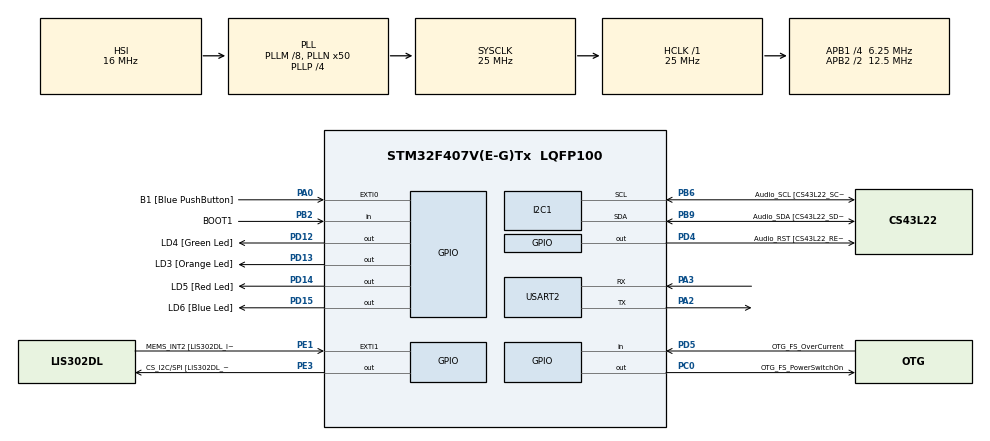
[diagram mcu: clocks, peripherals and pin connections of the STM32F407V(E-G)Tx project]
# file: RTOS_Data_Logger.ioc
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Mcu.Family=STM32F4
Mcu.Name=STM32F407V(E-G)Tx
Mcu.Package=LQFP100
NVIC.PriorityGroup=NVIC_PRIORITYGROUP_4
NVIC.TIM6_DAC_IRQn=true\:0\:0\:false\:false\:true\:false\:true\:true
NVIC.TimeBase=TIM6_DAC_IRQn
NVIC.TimeBaseIP=TIM6
NVIC.USART2_IRQn=true\:0\:0\:false\:false\:true\:true\:true\:true
PA0-WKUP.GPIO_Label=B1 [Blue PushButton]
PA0-WKUP.Signal=GPXTI0
PA10.GPIO_Label=OTG_FS_ID
PA10.GPIO_Mode=GPIO_MODE_AF_PP
PA10.GPIO_PuPd=GPIO_NOPULL
PA10.GPIO_Speed=GPIO_SPEED_FREQ_LOW
PA10.Signal=USB_OTG_FS_ID
PA11.GPIO_Label=OTG_FS_DM
PA11.GPIO_Mode=GPIO_MODE_AF_PP
PA11.GPIO_PuPd=GPIO_NOPULL
PA11.GPIO_Speed=GPIO_SPEED_FREQ_LOW
PA11.Signal=USB_OTG_FS_DM
PA12.GPIO_Label=OTG_FS_DP
PA12.GPIO_Mode=GPIO_MODE_AF_PP
PA12.GPIO_PuPd=GPIO_NOPULL
PA12.GPIO_Speed=GPIO_SPEED_FREQ_LOW
PA12.Signal=USB_OTG_FS_DP
PA13.GPIO_Label=SWDIO
PA13.Signal=SYS_JTMS-SWDIO
PA14.GPIO_Label=SWCLK
PA14.Signal=SYS_JTCK-SWCLK
PA2.Mode=Asynchronous
PA2.Signal=USART2_TX
PA3.Mode=Asynchronous
PA3.Signal=USART2_RX
PA4.GPIO_Label=I2S3_WS [CS43L22_LRCK]
PA4.GPIO_Mode=GPIO_MODE_AF_PP
PA4.GPIO_PuPd=GPIO_NOPULL
PA4.GPIO_Speed=GPIO_SPEED_FREQ_LOW
PA4.Signal=I2S3_WS
PA5.GPIO_Label=SPI1_SCK [LIS302DL_SCL/SPC]
PA5.GPIO_Mode=GPIO_MODE_AF_PP
PA5.GPIO_PuPd=GPIO_NOPULL
PA5.GPIO_Speed=GPIO_SPEED_FREQ_LOW
PA5.Signal=SPI1_SCK
PA6.GPIO_Label=SPI1_MISO [LIS302DL_SDO]
PA6.GPIO_Mode=GPIO_MODE_AF_PP
PA6.GPIO_PuPd=GPIO_NOPULL
PA6.GPIO_Speed=GPIO_SPEED_FREQ_LOW
PA6.Signal=SPI1_MISO
PA7.GPIO_Label=SPI1_MOSI [LIS302DL_SDA/SDI/SDO]
PA7.GPIO_Mode=GPIO_MODE_AF_PP
PA7.GPIO_PuPd=GPIO_NOPULL
PA7.GPIO_Speed=GPIO_SPEED_FREQ_LOW
PA7.Signal=SPI1_MOSI
PA9.GPIO_Label=VBUS_FS
PA9.GPIO_Mode=GPIO_MODE_INPUT
PA9.GPIO_PuPd=GPIO_NOPULL
PA9.Signal=USB_OTG_FS_VBUS
PB10.GPIO_Label=CLK_IN [MP45DT02_CLK]
PB10.GPIO_Mode=GPIO_MODE_AF_PP
PB10.GPIO_PuPd=GPIO_NOPULL
PB10.GPIO_Speed=GPIO_SPEED_FREQ_LOW
PB10.Signal=I2S2_CK
PB2.GPIO_Label=BOOT1
PB2.GPIO_Mode=GPIO_MODE_INPUT
PB2.GPIO_PuPd=GPIO_NOPULL
PB2.Signal=GPIO_Input
PB3.GPIO_Label=SWO
PB3.Signal=SYS_JTDO-SWO
PB6.GPIO_Label=Audio_SCL [CS43L22_SCL]
PB6.GPIO_Mode=GPIO_MODE_AF_OD
PB6.GPIO_Pu=GPIO_PULLUP
PB6.GPIO_PuPd=GPIO_NOPULL
PB6.GPIO_Speed=GPIO_SPEED_FREQ_LOW
PB6.Mode=I2C
PB6.Signal=I2C1_SCL
PB9.GPIO_Label=Audio_SDA [CS43L22_SDA]
PB9.GPIO_Mode=GPIO_MODE_AF_OD
PB9.GPIO_Pu=GPIO_PULLUP
PB9.GPIO_PuPd=GPIO_NOPULL
PB9.GPIO_Speed=GPIO_SPEED_FREQ_LOW
PB9.Mode=I2C
PB9.Signal=I2C1_SDA
PC0.GPIO_Label=OTG_FS_PowerSwitchOn
PC0.GPIO_PuPd=GPIO_NOPULL
PC0.GPIO_Speed=GPIO_SPEED_FREQ_LOW
PC0.PinState=GPIO_PIN_SET
PC0.Signal=GPIO_Output
PC10.GPIO_Label=I2S3_SCK [CS43L22_SCLK]
PC10.GPIO_Mode=GPIO_MODE_AF_PP
PC10.GPIO_PuPd=GPIO_NOPULL
PC10.GPIO_Speed=GPIO_SPEED_FREQ_LOW
PC10.Signal=I2S3_CK
PC12.GPIO_Label=I2S3_SD [CS43L22_SDIN]
PC12.GPIO_Mode=GPIO_MODE_AF_PP
PC12.GPIO_PuPd=GPIO_NOPULL
PC12.GPIO_Speed=GPIO_SPEED_FREQ_LOW
PC12.Signal=I2S3_SD
PC14-OSC32_IN.GPIO_Label=PC14-OSC32_IN
PC14-OSC32_IN.Signal=RCC_OSC32_IN
PC15-OSC32_OUT.GPIO_Label=PC15-OSC32_OUT
PC15-OSC32_OUT.Signal=RCC_OSC32_OUT
PC3.GPIO_Label=PDM_OUT [MP45DT02_DOUT]
PC3.GPIO_Mode=GPIO_MODE_AF_PP
PC3.GPIO_PuPd=GPIO_NOPULL
PC3.GPIO_Speed=GPIO_SPEED_FREQ_LOW
PC3.Signal=I2S2_SD
PC7.GPIO_Label=I2S3_MCK [CS43L22_MCLK]
PC7.GPIO_Mode=GPIO_MODE_AF_PP
PC7.GPIO_PuPd=GPIO_NOPULL
PC7.GPIO_Speed=GPIO_SPEED_FREQ_LOW
PC7.Signal=I2S3_MCK
PD12.GPIO_Label=LD4 [Green Led]
PD12.GPIO_PuPd=GPIO_NOPULL
PD12.GPIO_Speed=GPIO_SPEED_FREQ_LOW
PD12.Signal=GPIO_Output
PD13.GPIO_Label=LD3 [Orange Led]
PD13.GPIO_PuPd=GPIO_NOPULL
PD13.GPIO_Speed=GPIO_SPEED_FREQ_LOW
PD13.Signal=GPIO_Output
PD14.GPIO_Label=LD5 [Red Led]
PD14.GPIO_PuPd=GPIO_NOPULL
PD14.GPIO_Speed=GPIO_SPEED_FREQ_LOW
PD14.Signal=GPIO_Output
PD15.GPIO_Label=LD6 [Blue Led]
PD15.GPIO_PuPd=GPIO_NOPULL
PD15.GPIO_Speed=GPIO_SPEED_FREQ_LOW
PD15.Signal=GPIO_Output
PD4.GPIO_Label=Audio_RST [CS43L22_RESET]
PD4.GPIO_PuPd=GPIO_NOPULL
PD4.GPIO_Speed=GPIO_SPEED_FREQ_LOW
PD4.Signal=GPIO_Output
PD5.GPIO_Label=OTG_FS_OverCurrent
PD5.GPIO_Mode=GPIO_MODE_INPUT
PD5.GPIO_PuPd=GPIO_NOPULL
PD5.Signal=GPIO_Input
PE1.GPIO_Label=MEMS_INT2 [LIS302DL_INT2]
PE1.GPIO_ModeDefaultEXTI=GPIO_MODE_EVT_RISING
PE1.GPIO_PuPd=GPIO_NOPULL
PE1.Signal=GPXTI1
PE3.GPIO_Label=CS_I2C/SPI [LIS302DL_CS_I2C/SPI]
PE3.GPIO_PuPd=GPIO_NOPULL
PE3.GPIO_Speed=GPIO_SPEED_FREQ_LOW
PE3.Signal=GPIO_Output
PH0-OSC_IN.GPIO_Label=PH0-OSC_IN
PH0-OSC_IN.Signal=RCC_OSC_IN
PH1-OSC_OUT.GPIO_Label=PH1-OSC_OUT
PH1-OSC_OUT.Signal=RCC_OSC_OUT
ProjectManager.HeapSize=0x200
ProjectManager.StackSize=0x400
ProjectManager.TargetToolchain=STM32CubeIDE
RCC.48MHZClocksFreq_Value=14285714.285714285
RCC.AHBFreq_Value=25000000
RCC.APB1CLKDivider=RCC_HCLK_DIV4
RCC.APB1Freq_Value=6250000
RCC.APB1TimFreq_Value=12500000
RCC.APB2CLKDivider=RCC_HCLK_DIV2
RCC.APB2Freq_Value=12500000
RCC.APB2TimFreq_Value=25000000
RCC.CortexFreq_Value=25000000
RCC.HCLKFreq_Value=25000000
RCC.HSE_VALUE=8000000
RCC.HSI_VALUE=16000000
RCC.LSE_VALUE=32768
RCC.PLLM=8
RCC.PLLN=50
RCC.PLLP=RCC_PLLP_DIV4
RCC.PLLQ=7
RCC.SYSCLKFreq_VALUE=25000000
RCC.SYSCLKSource=RCC_SYSCLKSOURCE_PLLCLK
RCC.VCOOutputFreq_Value=100000000
USART2.VirtualMode=VM_ASYNC
VP_SYS_VS_tim6.Mode=TIM6
board=STM32F407G-DISC1

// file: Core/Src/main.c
/* USER CODE BEGIN Header */
/**
  ******************************************************************************
  * @file           : main.c
  * @brief          : Main program body
  ******************************************************************************
  * @attention
  *
  * Copyright (c) 2025 STMicroelectronics.
  * All rights reserved.
  *
  * This software is licensed under terms that can be found in the LICENSE file
  * in the root directory of this software component.
  * If no LICENSE file comes with this software, it is provided AS-IS.
  *
  ******************************************************************************
  */
/* USER CODE END Header */
#include "main.h"

/* USER CODE BEGIN Includes */
#include<stdio.h>
#include "FreeRTOS.h"
#include "task.h"
#include "queue.h"
#include "string.h"
#include "bme680.h"
/* USER CODE END Includes */

/* USER CODE BEGIN PD */
#define hum_os BME68X_OS_16X
#define pres_os BME68X_OS_1X
#define temp_os BME68X_OS_2X
#define iir_filter BME68X_FILTER_OFF
#define odr_time BME68X_ODR_NONE

#define htr_enable BME68X_ENABLE
#define htr_dur BME68X_HEATR_DUR1
#define htr_temp BME68X_HIGH_TEMP

#define max_number_of_data_fail 10

#define DWT_CTRL (*(volatile uint32_t*)0xE0001000)
/* USER CODE END PD */

I2C_HandleTypeDef hi2c1;

UART_HandleTypeDef huart2;

/* USER CODE BEGIN PV */
const char *begin_msg = "Data Logger begins!\n";
const char *init_fail = "Init function fail\n";
const char *init_suc = "Init function success\n";
const char *conf_failt = "Configuration function fail\n";
const char *conf_suc = "Configuration function success\n";
const char *htr_conf_fail = "Heater configuration fail\n";
const char *htr_conf_suc = "Heater configuration success\n";
const char *op_mode_fail = "Setting Op Mode fail\n";
const char *op_mode_suc = "Setting Op Mode success\n";
const char *rd_dt_fail = "Data reading fail\n";
const char *rd_dt_suc = "Data reading success\n";

const char *process_fail = "Processed Data is corrupted!\n";

const char *sensor_task = "This is sensor task!!!!!!\n";
const char *processing_task = "This is processing task!!!!!!\n";
const char *displaying_task = "This is displaying task!!!!!!\n";

uint8_t n_fields;

struct bme68x_conf sensor_conf;
struct bme68x_heatr_conf htr_conf;

TaskHandle_t sensor_handle;
TaskHandle_t processing_handle;
TaskHandle_t displaying_handle;

struct bme68x_dev bme;

QueueHandle_t measurement_data_queue;
QueueHandle_t display_information_queue;
/* USER CODE END PV */

void SystemClock_Config(void);
static void MX_GPIO_Init(void);
static void MX_I2C1_Init(void);
static void MX_USART2_UART_Init(void);
/* USER CODE BEGIN PFP */
static void bme680_interface_init(struct bme68x_dev*);
static int8_t bme680_config(struct bme68x_dev*);
static int8_t bme680_htr_config(struct bme68x_dev*);

static void sensor_handler(void* parameters);
static void processing_handler(void* parameters);
static void displaying_handler(void* parameters);
/* USER CODE END PFP */

int main(void)
{
  /* USER CODE BEGIN 1 */
	BaseType_t status;
  /* USER CODE END 1 */

  /* MCU Configuration--------------------------------------------------------*/

  /* Reset of all peripherals, Initializes the Flash interface and the Systick. */
  HAL_Init();

  /* Configure the system clock */
  SystemClock_Config();

  /* Initialize all configured peripherals */
  MX_GPIO_Init();
  MX_I2C1_Init();
  MX_USART2_UART_Init();
  /* USER CODE BEGIN 2 */
  int8_t result;

  //// Set up sensor
  // Initialize the interface
  bme680_interface_init(&bme);
  // initialize
  result = bme68x_init(&bme);
	print_error(result);
	if(result != BME68X_OK)
	{
		printmsg(init_fail);
	}
	else
	{
		printmsg(init_suc);
	}
  // configure oversampling
  result = bme680_config(&bme);
  if(result != BME68X_OK)
  {
  	printmsg(conf_failt);
  }
	else
	{
		printmsg(conf_suc);
	}
  // configure heater
  result = bme680_htr_config(&bme);
  if(result != BME68X_OK)
  {
  	printmsg(htr_conf_fail);
  }
	else
	{
		printmsg(htr_conf_suc);
	}

  //// Set up task
  DWT_CTRL |= ( 1 << 0 );

  status = xTaskCreate(sensor_handler, "Sensor_Task", 250, NULL, 2, &sensor_handle);
  configASSERT(status == pdPASS);

  status = xTaskCreate(processing_handler, "Processing_Task", 250, NULL, 2, &processing_handle);
  configASSERT(status == pdPASS);

  status = xTaskCreate(displaying_handler, "Displaying_Task", 250, NULL, 2, &displaying_handle);
  configASSERT(status == pdPASS);

  // set up queue
  measurement_data_queue = xQueueCreate(10, sizeof(size_t));
  configASSERT(measurement_data_queue != NULL);
  display_information_queue = xQueueCreate(10, sizeof(char));
  configASSERT(display_information_queue != NULL);
  // start scheduler
  vTaskStartScheduler();
  /* USER CODE END 2 */

  /* Infinite loop */
  while (1)
  {

  }
}

void SystemClock_Config(void)
{
  RCC_OscInitTypeDef RCC_OscInitStruct = {0};
  RCC_ClkInitTypeDef RCC_ClkInitStruct = {0};

  /** Configure the main internal regulator output voltage
  */
  __HAL_RCC_PWR_CLK_ENABLE();
  __HAL_PWR_VOLTAGESCALING_CONFIG(PWR_REGULATOR_VOLTAGE_SCALE1);

  /** Initializes the RCC Oscillators according to the specified parameters
  * in the RCC_OscInitTypeDef structure.
  */
  RCC_OscInitStruct.OscillatorType = RCC_OSCILLATORTYPE_HSI;
  RCC_OscInitStruct.HSIState = RCC_HSI_ON;
  RCC_OscInitStruct.HSICalibrationValue = RCC_HSICALIBRATION_DEFAULT;
  RCC_OscInitStruct.PLL.PLLState = RCC_PLL_ON;
  RCC_OscInitStruct.PLL.PLLSource = RCC_PLLSOURCE_HSI;
  RCC_OscInitStruct.PLL.PLLM = 8;
  RCC_OscInitStruct.PLL.PLLN = 50;
  RCC_OscInitStruct.PLL.PLLP = RCC_PLLP_DIV4;
  RCC_OscInitStruct.PLL.PLLQ = 7;
  if (HAL_RCC_OscConfig(&RCC_OscInitStruct) != HAL_OK)
  {
    Error_Handler();
  }

  /** Initializes the CPU, AHB and APB buses clocks
  */
  RCC_ClkInitStruct.ClockType = RCC_CLOCKTYPE_HCLK|RCC_CLOCKTYPE_SYSCLK
                              |RCC_CLOCKTYPE_PCLK1|RCC_CLOCKTYPE_PCLK2;
  RCC_ClkInitStruct.SYSCLKSource = RCC_SYSCLKSOURCE_PLLCLK;
  RCC_ClkInitStruct.AHBCLKDivider = RCC_SYSCLK_DIV1;
  RCC_ClkInitStruct.APB1CLKDivider = RCC_HCLK_DIV4;
  RCC_ClkInitStruct.APB2CLKDivider = RCC_HCLK_DIV2;

  if (HAL_RCC_ClockConfig(&RCC_ClkInitStruct, FLASH_LATENCY_0) != HAL_OK)
  {
    Error_Handler();
  }
}

static void MX_I2C1_Init(void)
{

  hi2c1.Instance = I2C1;
  hi2c1.Init.ClockSpeed = 100000;
  hi2c1.Init.DutyCycle = I2C_DUTYCYCLE_2;
  hi2c1.Init.OwnAddress1 = 0;
  hi2c1.Init.AddressingMode = I2C_ADDRESSINGMODE_7BIT;
  hi2c1.Init.DualAddressMode = I2C_DUALADDRESS_DISABLE;
  hi2c1.Init.OwnAddress2 = 0;
  hi2c1.Init.GeneralCallMode = I2C_GENERALCALL_DISABLE;
  hi2c1.Init.NoStretchMode = I2C_NOSTRETCH_DISABLE;
  if (HAL_I2C_Init(&hi2c1) != HAL_OK)
  {
    Error_Handler();
  }

}

static void MX_USART2_UART_Init(void)
{

  huart2.Instance = USART2;
  huart2.Init.BaudRate = 115200;
  huart2.Init.WordLength = UART_WORDLENGTH_8B;
  huart2.Init.StopBits = UART_STOPBITS_1;
  huart2.Init.Parity = UART_PARITY_NONE;
  huart2.Init.Mode = UART_MODE_TX_RX;
  huart2.Init.HwFlowCtl = UART_HWCONTROL_NONE;
  huart2.Init.OverSampling = UART_OVERSAMPLING_16;
  if (HAL_UART_Init(&huart2) != HAL_OK)
  {
    Error_Handler();
  }

}

static void MX_GPIO_Init(void)
{
  GPIO_InitTypeDef GPIO_InitStruct = {0};

  /* GPIO Ports Clock Enable */
  __HAL_RCC_GPIOE_CLK_ENABLE();
  __HAL_RCC_GPIOC_CLK_ENABLE();
  __HAL_RCC_GPIOH_CLK_ENABLE();
  __HAL_RCC_GPIOA_CLK_ENABLE();
  __HAL_RCC_GPIOB_CLK_ENABLE();
  __HAL_RCC_GPIOD_CLK_ENABLE();

  /*Configure GPIO pin Output Level */
  HAL_GPIO_WritePin(CS_I2C_SPI_GPIO_Port, CS_I2C_SPI_Pin, GPIO_PIN_RESET);

  /*Configure GPIO pin Output Level */
  HAL_GPIO_WritePin(OTG_FS_PowerSwitchOn_GPIO_Port, OTG_FS_PowerSwitchOn_Pin, GPIO_PIN_SET);

  /*Configure GPIO pin Output Level */
  HAL_GPIO_WritePin(GPIOD, LD4_Pin|LD3_Pin|LD5_Pin|LD6_Pin
                          |Audio_RST_Pin, GPIO_PIN_RESET);

  /*Configure GPIO pin : CS_I2C_SPI_Pin */
  GPIO_InitStruct.Pin = CS_I2C_SPI_Pin;
  GPIO_InitStruct.Mode = GPIO_MODE_OUTPUT_PP;
  GPIO_InitStruct.Pull = GPIO_NOPULL;
  GPIO_InitStruct.Speed = GPIO_SPEED_FREQ_LOW;
  HAL_GPIO_Init(CS_I2C_SPI_GPIO_Port, &GPIO_InitStruct);

  /*Configure GPIO pin : OTG_FS_PowerSwitchOn_Pin */
  GPIO_InitStruct.Pin = OTG_FS_PowerSwitchOn_Pin;
  GPIO_InitStruct.Mode = GPIO_MODE_OUTPUT_PP;
  GPIO_InitStruct.Pull = GPIO_NOPULL;
  GPIO_InitStruct.Speed = GPIO_SPEED_FREQ_LOW;
  HAL_GPIO_Init(OTG_FS_PowerSwitchOn_GPIO_Port, &GPIO_InitStruct);

  /*Configure GPIO pin : PDM_OUT_Pin */
  GPIO_InitStruct.Pin = PDM_OUT_Pin;
  GPIO_InitStruct.Mode = GPIO_MODE_AF_PP;
  GPIO_InitStruct.Pull = GPIO_NOPULL;
  GPIO_InitStruct.Speed = GPIO_SPEED_FREQ_LOW;
  GPIO_InitStruct.Alternate = GPIO_AF5_SPI2;
  HAL_GPIO_Init(PDM_OUT_GPIO_Port, &GPIO_InitStruct);

  /*Configure GPIO pin : B1_Pin */
  GPIO_InitStruct.Pin = B1_Pin;
  GPIO_InitStruct.Mode = GPIO_MODE_IT_RISING;
  GPIO_InitStruct.Pull = GPIO_NOPULL;
  HAL_GPIO_Init(B1_GPIO_Port, &GPIO_InitStruct);

  /*Configure GPIO pin : I2S3_WS_Pin */
  GPIO_InitStruct.Pin = I2S3_WS_Pin;
  GPIO_InitStruct.Mode = GPIO_MODE_AF_PP;
  GPIO_InitStruct.Pull = GPIO_NOPULL;
  GPIO_InitStruct.Speed = GPIO_SPEED_FREQ_LOW;
  GPIO_InitStruct.Alternate = GPIO_AF6_SPI3;
  HAL_GPIO_Init(I2S3_WS_GPIO_Port, &GPIO_InitStruct);

  /*Configure GPIO pins : SPI1_SCK_Pin SPI1_MISO_Pin SPI1_MOSI_Pin */
  GPIO_InitStruct.Pin = SPI1_SCK_Pin|SPI1_MISO_Pin|SPI1_MOSI_Pin;
  GPIO_InitStruct.Mode = GPIO_MODE_AF_PP;
  GPIO_InitStruct.Pull = GPIO_NOPULL;
  GPIO_InitStruct.Speed = GPIO_SPEED_FREQ_LOW;
  GPIO_InitStruct.Alternate = GPIO_AF5_SPI1;
  HAL_GPIO_Init(GPIOA, &GPIO_InitStruct);

  /*Configure GPIO pin : BOOT1_Pin */
  GPIO_InitStruct.Pin = BOOT1_Pin;
  GPIO_InitStruct.Mode = GPIO_MODE_INPUT;
  GPIO_InitStruct.Pull = GPIO_NOPULL;
  HAL_GPIO_Init(BOOT1_GPIO_Port, &GPIO_InitStruct);

  /*Configure GPIO pin : CLK_IN_Pin */
  GPIO_InitStruct.Pin = CLK_IN_Pin;
  GPIO_InitStruct.Mode = GPIO_MODE_AF_PP;
  GPIO_InitStruct.Pull = GPIO_NOPULL;
  GPIO_InitStruct.Speed = GPIO_SPEED_FREQ_LOW;
  GPIO_InitStruct.Alternate = GPIO_AF5_SPI2;
  HAL_GPIO_Init(CLK_IN_GPIO_Port, &GPIO_InitStruct);

  /*Configure GPIO pins : LD4_Pin LD3_Pin LD5_Pin LD6_Pin
                           Audio_RST_Pin */
  GPIO_InitStruct.Pin = LD4_Pin|LD3_Pin|LD5_Pin|LD6_Pin
                          |Audio_RST_Pin;
  GPIO_InitStruct.Mode = GPIO_MODE_OUTPUT_PP;
  GPIO_InitStruct.Pull = GPIO_NOPULL;
  GPIO_InitStruct.Speed = GPIO_SPEED_FREQ_LOW;
  HAL_GPIO_Init(GPIOD, &GPIO_InitStruct);

  /*Configure GPIO pins : I2S3_MCK_Pin I2S3_SCK_Pin I2S3_SD_Pin */
  GPIO_InitStruct.Pin = I2S3_MCK_Pin|I2S3_SCK_Pin|I2S3_SD_Pin;
  GPIO_InitStruct.Mode = GPIO_MODE_AF_PP;
  GPIO_InitStruct.Pull = GPIO_NOPULL;
  GPIO_InitStruct.Speed = GPIO_SPEED_FREQ_LOW;
  GPIO_InitStruct.Alternate = GPIO_AF6_SPI3;
  HAL_GPIO_Init(GPIOC, &GPIO_InitStruct);

  /*Configure GPIO pin : VBUS_FS_Pin */
  GPIO_InitStruct.Pin = VBUS_FS_Pin;
  GPIO_InitStruct.Mode = GPIO_MODE_INPUT;
  GPIO_InitStruct.Pull = GPIO_NOPULL;
  HAL_GPIO_Init(VBUS_FS_GPIO_Port, &GPIO_InitStruct);

  /*Configure GPIO pins : OTG_FS_ID_Pin OTG_FS_DM_Pin OTG_FS_DP_Pin */
  GPIO_InitStruct.Pin = OTG_FS_ID_Pin|OTG_FS_DM_Pin|OTG_FS_DP_Pin;
  GPIO_InitStruct.Mode = GPIO_MODE_AF_PP;
  GPIO_InitStruct.Pull = GPIO_NOPULL;
  GPIO_InitStruct.Speed = GPIO_SPEED_FREQ_LOW;
  GPIO_InitStruct.Alternate = GPIO_AF10_OTG_FS;
  HAL_GPIO_Init(GPIOA, &GPIO_InitStruct);

  /*Configure GPIO pin : OTG_FS_OverCurrent_Pin */
  GPIO_InitStruct.Pin = OTG_FS_OverCurrent_Pin;
  GPIO_InitStruct.Mode = GPIO_MODE_INPUT;
  GPIO_InitStruct.Pull = GPIO_NOPULL;
  HAL_GPIO_Init(OTG_FS_OverCurrent_GPIO_Port, &GPIO_InitStruct);

  /*Configure GPIO pin : MEMS_INT2_Pin */
  GPIO_InitStruct.Pin = MEMS_INT2_Pin;
  GPIO_InitStruct.Mode = GPIO_MODE_EVT_RISING;
  GPIO_InitStruct.Pull = GPIO_NOPULL;
  HAL_GPIO_Init(MEMS_INT2_GPIO_Port, &GPIO_InitStruct);

}

/* USER CODE BEGIN 4 */
void printmsg(const char* msg)
{
	HAL_UART_Transmit(&huart2, (uint8_t*)msg, strlen(msg), HAL_MAX_DELAY);
}

BME68X_INTF_RET_TYPE user_i2c_read(uint8_t reg_addr, uint8_t *data, uint32_t len, void *intf_ptr)
{
	uint8_t dev_addr = *(uint8_t*)intf_ptr;
	uint16_t DevAddress = dev_addr <<1;
//  HAL_I2C_Master_Transmit(&hi2c1, DevAddress, &reg_addr, 1, 1000);
//  HAL_I2C_Master_Receive(&hi2c1, DevAddress, data, len, 1000);
	HAL_I2C_Mem_Read(&hi2c1, DevAddress, reg_addr, 1, data, len, 15);
  return 0; // Success
}

BME68X_INTF_RET_TYPE user_i2c_write(uint8_t reg_addr, const uint8_t *data, uint32_t len, void *intf_ptr)
{
	uint8_t dev_addr = *(uint8_t*)intf_ptr;
	uint16_t DevAddress = dev_addr <<1;
//	HAL_I2C_Master_Transmit(&hi2c1, DevAddress, &reg_addr, len+1, 1000);
	HAL_I2C_Mem_Write(&hi2c1, DevAddress, reg_addr, 1, (uint8_t*)data, len, 15);
  return 0; // Success
}

void bme68x_delay_us(uint32_t period, void *ntf_ptr)
{
	HAL_Delay(period/1000);
}

static void bme680_interface_init(struct bme68x_dev* dev_ptr)
{
  uint8_t dev_addr;
	dev_addr = BME68X_I2C_ADDR_HIGH;
	dev_ptr -> intf = BME68X_I2C_INTF;
	dev_ptr -> read = user_i2c_read;
	dev_ptr -> write = user_i2c_write;
	dev_ptr -> delay_us = bme68x_delay_us;
	dev_ptr -> intf_ptr = &dev_addr;
	dev_ptr -> amb_temp = 25;
}

static int8_t bme680_config(struct bme68x_dev* bme680_ptr)
{
	sensor_conf.filter = iir_filter;
	sensor_conf.odr = odr_time;
	sensor_conf.os_hum = hum_os;
	sensor_conf.os_pres = pres_os;
	sensor_conf.os_temp = temp_os;

	int8_t rslt = bme68x_set_conf(&sensor_conf, bme680_ptr);
	return rslt;
}

static int8_t bme680_htr_config(struct bme68x_dev* bme680_ptr)
{
	htr_conf.enable = htr_enable;
	htr_conf.heatr_dur = htr_dur;
	htr_conf.heatr_temp = htr_temp;

	int8_t rslt = bme68x_set_heatr_conf(BME68X_FORCED_MODE, &htr_conf, bme680_ptr);
	return rslt;
}

void print_error(int8_t result)
{
	const char *return_msg;
	if(result == BME68X_OK)
	{
		return_msg = "Init Result: BME68X_OK\n";
		printmsg(return_msg);
	}
	else if(result == BME68X_E_NULL_PTR)
	{
		return_msg = "Init Result: BME68X_E_NULL_PTR\n";
		printmsg(return_msg);
	}
	else if(result == BME68X_E_COM_FAIL)
	{
		return_msg = "Init Result: BME68X_E_COM_FAIL\n";
		printmsg(return_msg);
	}
	else if(result == BME68X_E_DEV_NOT_FOUND)
	{
		return_msg = "Init Result: BME68X_E_DEV_NOT_FOUND\n";
		printmsg(return_msg);
	}
	else if(result == BME68X_E_INVALID_LENGTH)
	{
		return_msg = "Init Result: BME68X_E_INVALID_LENGTH\n";
		printmsg(return_msg);
	}
	else if(result == BME68X_E_SELF_TEST)
	{
		return_msg = "Init Result: BME68X_E_SELF_TEST\n";
		printmsg(return_msg);
	}
	else if(result == BME68X_W_DEFINE_OP_MODE)
	{
		return_msg = "Init Result: BME68X_W_DEFINE_OP_MODE\n";
		printmsg(return_msg);
	}
	else if(result == BME68X_W_NO_NEW_DATA)
	{
		return_msg = "Init Result: BME68X_W_NO_NEW_DATA\n";
		printmsg(return_msg);
	}
	else if(result == BME68X_W_DEFINE_SHD_HEATR_DUR)
	{
		return_msg = "Init Result: BME68X_W_DEFINE_SHD_HEATR_DUR\n";
		printmsg(return_msg);
	}
	else if(result == BME68X_I_PARAM_CORR)
	{
		return_msg = "Init Result: BME68X_I_PARAM_CORR\n";
		printmsg(return_msg);
	}
	else
	{
		return_msg = "Init Result: Not identified\n";
		printmsg(return_msg);
	}
}

static void sensor_handler(void* parameters)
{
	struct bme68x_data data;
	BaseType_t status;
	printmsg(sensor_task);
  //char msg[100];
  //int len;
  int8_t result;
  uint32_t del_period;
  uint8_t num_fail_2_reset = 0;
	while(1)
	{
		result = bme68x_set_op_mode(BME68X_FORCED_MODE, &bme);
		del_period = bme68x_get_meas_dur(BME68X_FORCED_MODE, &sensor_conf, &bme) + (htr_conf.heatr_dur * 1000);
		bme.delay_us(del_period, bme.intf_ptr);
		// get data
		result = bme68x_get_data(BME68X_FORCED_MODE, &data, &n_fields, &bme);
		print_error(result);
		if(result == 0)
		{
			// print out data
			printmsg(rd_dt_suc);
			//len = snprintf(msg, 100, "Temperature: %.2f, Pressure: %.2f, Humidity: %.2f\n", data.temperature, data.pressure, data.humidity);
			//HAL_UART_Transmit(&huart2, (uint8_t *)msg, len, HAL_MAX_DELAY);
		}
		else
		{
			// print out error
			num_fail_2_reset++;
			printmsg(rd_dt_fail);
			//len = snprintf(msg, 50, "result of data getting: %d\n", result);
			//HAL_UART_Transmit(&huart2, (uint8_t *)msg, len, HAL_MAX_DELAY);
			if(num_fail_2_reset >= max_number_of_data_fail)
			{
				num_fail_2_reset = 0;
				bme68x_soft_reset(&bme);
			}
			// put place holder into data
			data.temperature = 99.99;
			data.pressure = 99.99;
			data.humidity = 99.99;
		}
		xQueueSend(measurement_data_queue, &data, portMAX_DELAY);
		status = xTaskNotify(processing_handle, 0, eNoAction);
		configASSERT(status == pdPASS);
		HAL_Delay(500);
	}
}

static void processing_handler(void* parameters)
{
	BaseType_t status;
	printmsg(processing_task);
	char msg[100];
	struct bme68x_data received_data;
	while(1)
	{
		// wait for data to be insert into the measurement queue
		xTaskNotifyWait(0, 0, NULL, portMAX_DELAY);
		xQueueReceive(measurement_data_queue, &received_data, 0);
		if((received_data.temperature == 99.99) && (received_data.pressure == 99.99) && (received_data.humidity == 99.99))
		{
			xQueueSend(display_information_queue, &process_fail, portMAX_DELAY);
		}
		else
		{
			snprintf(msg, 100, "Temperature: %.2f, Pressure: %.2f, Humidity: %.2f\n", received_data.temperature, received_data.pressure, received_data.humidity);
			xQueueSend(display_information_queue, (void*)&msg, portMAX_DELAY);
		}
		status = xTaskNotify(displaying_handle, 0, eNoAction);
		configASSERT(status == pdPASS);
	}
}

static void displaying_handler(void* parameters)
{
	BaseType_t status;
	printmsg(displaying_task);
	char msg[100];
	while(1)
	{
		status = xTaskNotifyWait(0, 0, NULL, portMAX_DELAY);
		configASSERT(status == pdPASS);
		xQueueReceive(display_information_queue, (void*)&msg, portMAX_DELAY);
		printmsg(msg);
		xTaskNotify(sensor_handle, 0, eNoAction);
		HAL_Delay(500);
	}
}
/* USER CODE END 4 */

void HAL_TIM_PeriodElapsedCallback(TIM_HandleTypeDef *htim)
{
  if (htim->Instance == TIM6) {
    HAL_IncTick();
  }
}

void Error_Handler(void)
{
  __disable_irq();
  while (1)
  {
  }
}
